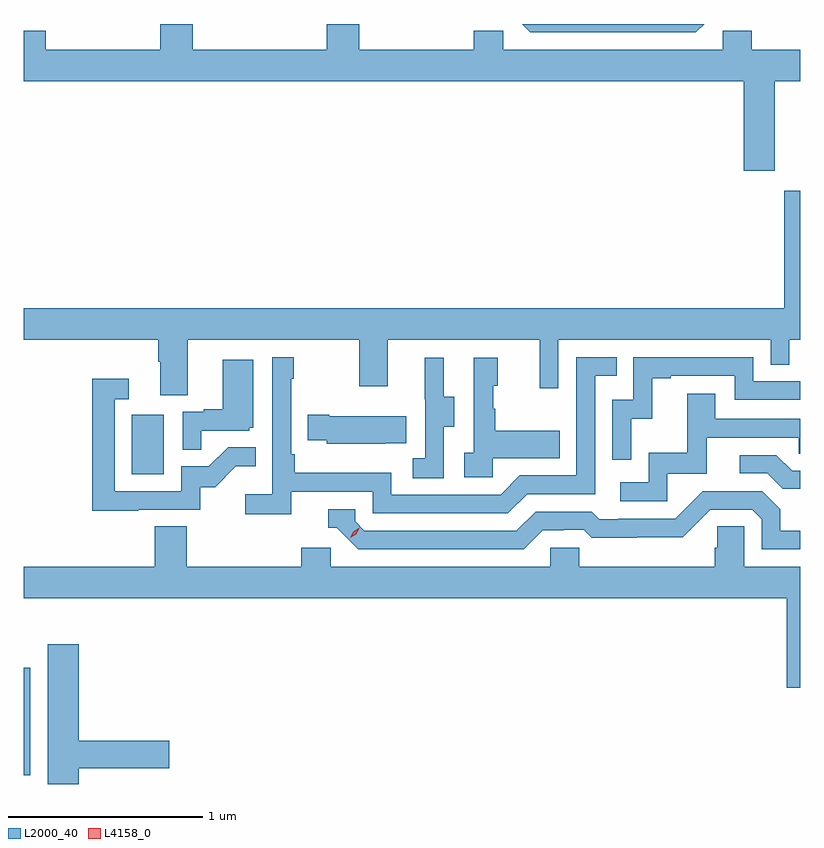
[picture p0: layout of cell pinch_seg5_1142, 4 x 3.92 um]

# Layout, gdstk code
import gdstk
lib = gdstk.Library(unit=1e-6, precision=1e-09)
def R(c, l, rs):  # rectangles x0, y0, x1, y1
    for r in rs: c.add(gdstk.rectangle(r[:2], r[2:], *l))
def P(c, l, *ps):  # polygons
    for p in ps: c.add(gdstk.Polygon(p, *l))
L2000_40 = (2000, 40)
L4158_0 = (4158, 0)

pinch_seg5_1142 = lib.new_cell('pinch_seg5_1142')
R(pinch_seg5_1142, L2000_40, [(867.393,846.526,867.426,847.078), (867.95,848.076,868.114,848.383)])
P(pinch_seg5_1142, L2000_40, [(871.263,850.1),(871.393,850.1),(871.393,850.264),(871.143,850.264),(871.143,850.362),(870.993,850.362),(870.993,850.264),(869.862,850.264),(869.862,850.362),(869.711,850.362),(869.711,850.264),(869.12,850.264),(869.12,850.396),(868.955,850.396),(868.955,850.264),(868.262,850.264),(868.262,850.396),(868.097,850.396),(868.097,850.264),(867.506,850.264),(867.506,850.362),(867.393,850.362),(867.393,850.1),(871.103,850.1),(871.103,849.639),(871.263,849.639)],
  [(870.899,850.396),(869.96,850.396),(870.003,850.353),(870.856,850.353)],
  [(868.237,848.768),(869.122,848.768),(869.122,848.529),(869.269,848.529),(869.269,848.768),(870.05,848.768),(870.05,848.52),(870.147,848.52),(870.147,848.768),(871.242,848.768),(871.242,848.641),(871.338,848.641),(871.338,848.768),(871.393,848.768),(871.393,849.538),(871.31,849.538),(871.31,848.932),(867.393,848.932),(867.393,848.768),(868.085,848.768),(868.085,848.656),(868.097,848.656),(868.097,848.482),(868.237,848.482)],
  [(868.772,847.986),(869.19,847.986),(869.19,847.875),(869.887,847.875),(869.986,847.974),(870.336,847.974),(870.336,848.583),(870.449,848.583),(870.449,848.679),(870.24,848.679),(870.24,848.07),(869.949,848.07),(869.85,847.971),(869.286,847.971),(869.286,848.083),(868.79,848.083),(868.79,848.179),(868.77,848.179),(868.77,848.567),(868.783,848.567),(868.783,848.68),(868.674,848.68),(868.674,847.972),(868.533,847.972),(868.533,847.87),(868.772,847.87)],
  [(870.522,848.363),(870.632,848.363),(870.632,848.571),(870.727,848.571),(870.727,848.583),(871.056,848.583),(871.056,848.46),(871.393,848.46),(871.393,848.556),(871.152,848.556),(871.152,848.679),(870.534,848.679),(870.534,848.46),(870.426,848.46),(870.426,848.151),(870.522,848.151)],
  [(869.556,848.32),(869.611,848.32),(869.611,848.475),(869.557,848.475),(869.557,848.677),(869.459,848.677),(869.459,848.463),(869.46,848.463),(869.46,848.159),(869.397,848.159),(869.397,848.056),(869.556,848.056)],
  [(869.808,848.159),(870.155,848.159),(870.155,848.299),(869.821,848.299),(869.821,848.414),(869.811,848.414),(869.811,848.532),(869.836,848.532),(869.836,848.677),(869.712,848.677),(869.712,848.186),(869.661,848.186),(869.661,848.061),(869.808,848.061)],
  [(868.307,848.301),(868.554,848.301),(868.554,848.316),(868.576,848.316),(868.576,848.665),(868.418,848.665),(868.418,848.41),(868.319,848.41),(868.319,848.397),(868.212,848.397),(868.212,848.203),(868.307,848.203)],
  [(867.983,847.893),(868.302,847.893),(868.302,848.01),(868.378,848.01),(868.485,848.117),(868.589,848.117),(868.589,848.216),(868.445,848.216),(868.347,848.118),(868.203,848.118),(868.203,847.989),(867.861,847.989),(867.861,848.463),(867.934,848.463),(867.934,848.569),(867.745,848.569),(867.745,847.888),(867.983,847.888)],
  [(870.708,848.079),(870.913,848.079),(870.913,848.265),(871.387,848.265),(871.387,848.181),(871.393,848.181),(871.393,848.361),(870.955,848.361),(870.955,848.491),(870.811,848.491),(870.811,848.188),(870.612,848.188),(870.612,848.034),(870.465,848.034),(870.465,847.938),(870.708,847.938)],
  [(869.255,848.237),(869.363,848.237),(869.363,848.374),(868.966,848.374),(868.966,848.382),(868.855,848.382),(868.855,848.252),(868.953,848.252),(868.953,848.234),(869.255,848.234)],
  [(871.393,848.094),(871.351,848.094),(871.27,848.175),(871.083,848.175),(871.083,848.082),(871.224,848.082),(871.304,848.002),(871.393,848.002)],
  [(870.067,847.788),(870.174,847.788),(870.174,847.791),(870.277,847.791),(870.319,847.749),(870.552,847.749),(870.552,847.751),(870.788,847.751),(870.93,847.893),(871.146,847.893),(871.194,847.845),(871.194,847.689),(871.393,847.689),(871.393,847.785),(871.291,847.785),(871.291,847.895),(871.197,847.989),(870.891,847.989),(870.75,847.848),(870.457,847.848),(870.457,847.845),(870.358,847.845),(870.319,847.884),(870.03,847.884),(869.931,847.785),(869.148,847.785),(869.1,847.833),(869.1,847.896),(868.961,847.896),(868.961,847.8),(869.004,847.8),(869.115,847.689),(869.968,847.689)],
  [(871.393,847.6),(871.104,847.6),(871.104,847.808),(870.967,847.808),(870.967,847.698),(870.953,847.698),(870.953,847.6),(870.255,847.6),(870.255,847.698),(870.105,847.698),(870.105,847.6),(868.974,847.6),(868.974,847.698),(868.823,847.698),(868.823,847.6),(868.232,847.6),(868.232,847.808),(868.067,847.808),(868.067,847.6),(867.393,847.6),(867.393,847.436),(871.325,847.436),(871.325,846.975),(871.393,846.975)],
  [(867.676,846.562),(868.141,846.562),(868.141,846.704),(867.676,846.704),(867.676,847.201),(867.515,847.201),(867.515,846.48),(867.676,846.48)])
P(pinch_seg5_1142, L4158_0, [(869.075,847.748),(869.075,847.749),(869.091,847.781),(869.122,847.8),(869.122,847.8),(869.122,847.8),(869.106,847.768),(869.075,847.748)])

lib.write_gds('pinch_seg5_1142.gds')
